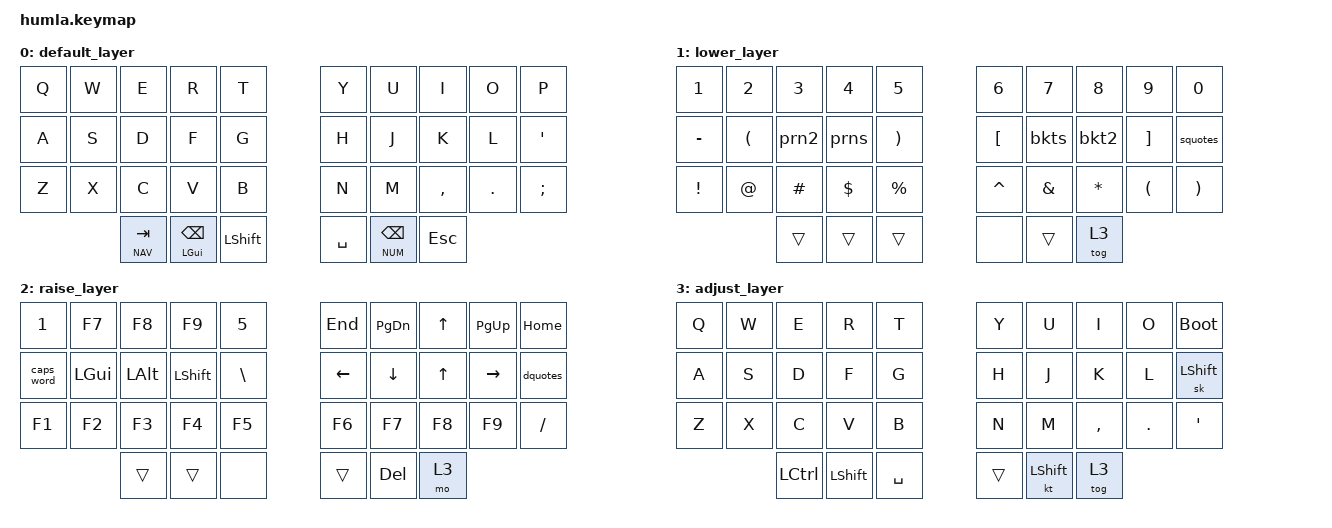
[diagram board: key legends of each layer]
/*
   # Copyright (c) 2023 The ZMK Contributors
   # SPDX-License-Identifier: MIT
 */

#include <behaviors.dtsi>
#include <dt-bindings/zmk/keys.h>
#include <dt-bindings/zmk/bt.h>
#include <dt-bindings/zmk/ext_power.h>

#define DEFAULT 0
#define NUM     1
#define NAV     2


/ {
        behaviors {
            td0: tap_dance_0 {
               compatible = "zmk,behavior-tap-dance";
               label = "TAP_DANCE_0";
               #binding-cells = <0>;
               tapping-term-ms = <200>;
               bindings = <&kp ESC>, <&bootloader>, <&kp ESC>;
            };
        };

        macros {
            squotes: squotes {
                compatible = "zmk,behavior-macro";
                #binding-cells = <0>;
                bindings
                    = <&macro_tap &kp SQT &kp SQT &kp LEFT>
                    ;
            };
            dquotes: dquotes {
                compatible = "zmk,behavior-macro";
                #binding-cells = <0>;
                bindings
                    = <&macro_tap &kp DQT &kp DQT &kp LEFT>
                    ;
            };
            prns: prns {
                compatible = "zmk,behavior-macro";
                #binding-cells = <0>;
                bindings
                    = <&macro_tap &kp LPAR &kp RPAR &kp LEFT>
                    ;
            };
            prn2: prn2 {
                compatible = "zmk,behavior-macro";
                #binding-cells = <0>;
                bindings
                    = <&macro_tap &kp RPAR &kp LPAR &kp LEFT>
                    ;
            };
            bkts: bkts {
                compatible = "zmk,behavior-macro";
                #binding-cells = <0>;
                bindings
                    = <&macro_tap &kp LBKT &kp RBKT &kp LEFT>
                    ;
            };
            bkt2: bkt2 {
                compatible = "zmk,behavior-macro";
                #binding-cells = <0>;
                bindings
                    = <&macro_tap &kp RBKT &kp LBKT &kp LEFT>
                    ;
            };
        };

        combos {
            compatible = "zmk,combos";
            combo_caps {
                timeout-ms = <50>;
                key-positions = <13 16>;
                bindings = <&caps_word>;
            };
            combo_nav {
                timeout-ms = <50>;
                key-positions = <0 9>;
                bindings = <&tog 3>;
            };
            combo_tab {
                timeout-ms = <50>;
                key-positions = <11 12 13>;
                bindings = <&kp TAB>;
            };
            combo_command {
                timeout-ms = <50>;
                key-positions = <16 17 18>;
                bindings = <&sk LGUI>;
            };
        };

        keymap {
                compatible = "zmk,keymap";

                default_layer {
// --------------------------------------------------------------------
// |  Q  |  W  |  E  |  R  |  T    /  \    Y  |  U   |  I  |  O  |  P  |
// |  A  |  S  |  D  |  F  |  G   /    \   H  |  J   |  K  |  L  |  ;  |
// |  Z  |  X  |  C  |  V  |  B  /      \  N  |  M   |  ,  |  .  |  /  |
//             | WIN(TAB) | LSFT |RET(LWR) | BSPC(CTL) | SPC(RSE)  | ALT(ESC) |
                        bindings = <
   &kp Q &kp W &kp E &kp R &kp T          &kp Y &kp U   &kp I     &kp O   &kp P
   &kp A &kp S &kp D &kp F &kp G          &kp H &kp J   &kp K     &kp L   &kp SQT 
   &kp Z &kp X &kp C &kp V &kp B          &kp N &kp M   &kp COMMA &kp DOT &kp SEMI
   &lt NAV TAB &mt LGUI BSPC &kp LSHFT         &kp SPC &lt NUM BSPC &kp ESC
                        >;
                };

                lower_layer {
// -------------------------------------------------------------------
// |GRESC|  !  |  @  |  #  |  $    /  \    [  |  &  |  *  |  8  | ] |
// |  -  |  +  |  {  |  }  | "|"  /    \   ( | $ |  % | ^ |  )  |
// | BKSP| GUI | ALT | CAPS|  "  /      \ HOME| ! | @ | # |RSHFT|
//             | LCTL(BKSP) | SHFT | LWR| | SPC | ADJUST 
                        bindings = <
    &kp N1      &kp N2      &kp N3      &kp N4      &kp N5          &kp N6     &kp N7     &kp N8      &kp N9     &kp N0
    &kp MINUS   &kp LPAR    &prn2       &prns       &kp RPAR        &kp LBKT   &bkts      &bkt2       &kp RBKT      &squotes
    &kp EXCL    &kp AT      &kp HASH    &kp DLLR    &kp PRCNT       &kp CARET  &kp AMPS   &kp STAR    &kp LPAR   &kp RPAR
               &trans    &trans     &trans                &none      &trans     &tog 3 
                        >;
                };

                raise_layer {
// -------------------------------------------------------------------
// | 1   |  F7  |  F8  |  F9  |  5    /  \    6  |  7  |  8  |  9  |  0  | z
// | -   |  F4  |  F5  |  F6  |  \   /    \  F1  | 4  | 5  | 6  | F5  | 
// | ESC | F1 | F2 | F3 |  "  /      \ F6  | 1  | 2  | 3  | F10 | 
//             | LCTL(BKSP) | LALT | | RSE | SPC  | ADJUST |
                        bindings = <
    &kp N1      &kp F7    &kp F8  &kp F9     &kp N5       &kp END   &kp PG_DN   &kp UP    &kp PG_UP &kp HOME    
    &caps_word  &kp LGUI  &kp LALT &kp LSHFT  &kp BSLH     &kp LEFT   &kp DOWN  &kp UP  &kp RIGHT &dquotes  
    &kp F1      &kp F2    &kp F3  &kp F4     &kp F5       &kp F6      &kp F7    &kp F8    &kp F9    &kp SLASH
             &trans &trans &none &trans &kp DEL &mo 3
                        >;
                };

                adjust_layer {
// ------------------------------------------------------------------------------
// |                                       /\              Bluetooth             |
// |                                      /  \   BT1  | BT2 | BT3 | BT4 | BT CLR |
// |                                     /    \       |     |     |BTNxt| BT PRV |
// |                                    /      \ EPTOG|     |     |     |
//      | TD(ESC/RESET/BOOTLOADER/ESC)|  |  | RET | SPC | ADJ
                        bindings = <
    &kp Q &kp W &kp E &kp R &kp T          &kp Y &kp U   &kp I     &kp O   &bootloader
   &kp A &kp S &kp D &kp F &kp G          &kp H &kp J   &kp K     &kp L   &sk LSHFT
   &kp Z &kp X &kp C &kp V &kp B          &kp N &kp M   &kp COMMA &kp DOT &kp SQT
               &kp  LCTL &kp LSHFT &kp SPC &trans &kt LSHFT &tog 3
                        >;
                };
        };
};  
